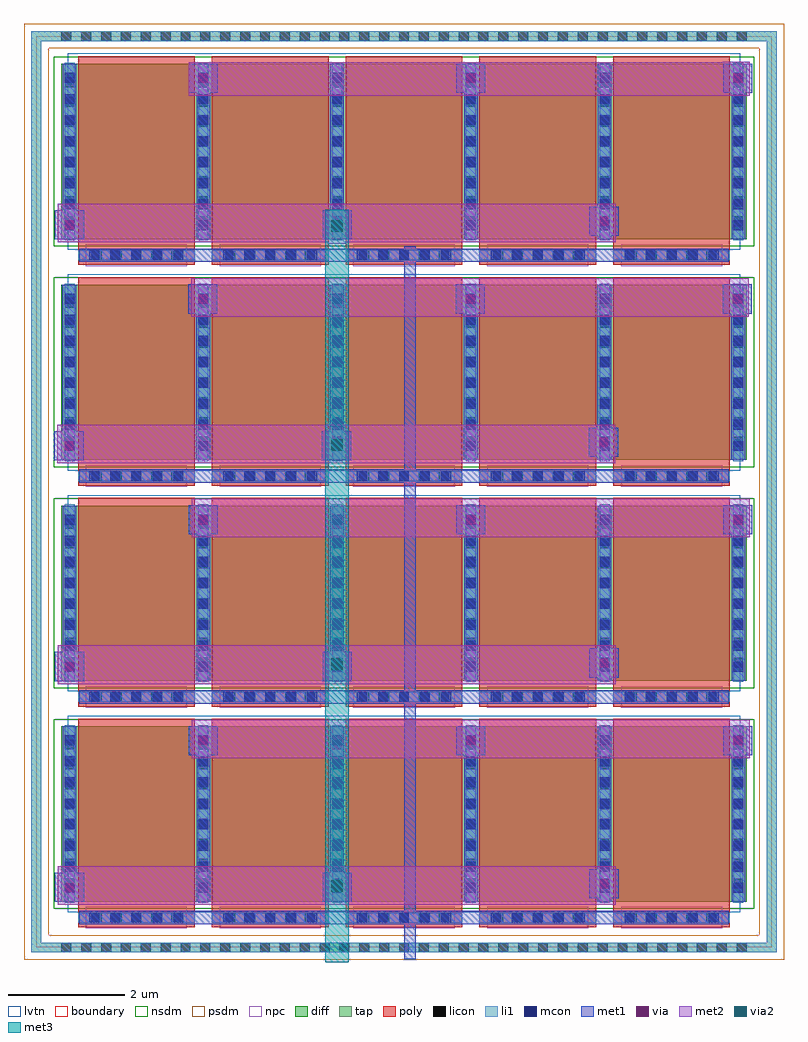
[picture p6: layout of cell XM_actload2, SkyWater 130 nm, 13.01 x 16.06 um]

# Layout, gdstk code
import gdstk
lib = gdstk.Library(unit=1e-6, precision=1e-09)
def R(c, l, rs):  # rectangles x0, y0, x1, y1
    for r in rs: c.add(gdstk.rectangle(r[:2], r[2:], *l))
def A(c, l, x, y, w, h, nx, ny, dx, dy):  # array of equal rectangles
    R(c, l, [(x+i*dx, y+j*dy, x+i*dx+w, y+j*dy+h) for i in range(nx) for j in range(ny)])
diff = (65, 20)
tap = (65, 44)
poly = (66, 20)
licon = (66, 44)
li1 = (67, 20)
mcon = (67, 44)
met1 = (68, 20)
via = (68, 44)
met2 = (69, 20)
via2 = (69, 44)
met3 = (70, 20)
nsdm = (93, 44)
psdm = (94, 20)
npc = (95, 20)
lvtn = (125, 44)
boundary = (235, 4)

sky130_fd_pr__nfet_01v8_ = lib.new_cell('sky130_fd_pr__nfet_01v8_lvt_USQY94')
A(sky130_fd_pr__nfet_01v8_, diff, -5.87, -7.015, 11.74, 3, 1, 4, 0, 3.78)
R(sky130_fd_pr__nfet_01v8_, tap, [(-6.38,-7.885,6.38,-7.715), (-6.38,-7.715,-6.21,7.715), (6.21,-7.715,6.38,7.715), (-6.38,7.715,6.38,7.885)])
A(sky130_fd_pr__nfet_01v8_, poly, -5.58, -7.455, 2, 3.57, 5, 4, 2.29, 3.78)
A(sky130_fd_pr__nfet_01v8_, licon, -5.865, -7.885, 0.17, 0.17, 35, 2, 0.34, 15.6)
A(sky130_fd_pr__nfet_01v8_, licon, -5.345, -7.375, 0.17, 0.17, 5, 4, 0.34, 3.78)
A(sky130_fd_pr__nfet_01v8_, licon, -3.055, -7.375, 0.17, 0.17, 5, 4, 0.34, 3.78)
A(sky130_fd_pr__nfet_01v8_, licon, -0.765, -7.375, 0.17, 0.17, 5, 4, 0.34, 3.78)
A(sky130_fd_pr__nfet_01v8_, licon, 1.525, -7.375, 0.17, 0.17, 5, 4, 0.34, 3.78)
A(sky130_fd_pr__nfet_01v8_, licon, 3.815, -7.375, 0.17, 0.17, 5, 4, 0.34, 3.78)
A(sky130_fd_pr__nfet_01v8_, licon, -5.81, -6.79, 0.17, 0.17, 6, 8, 2.29, 0.34)
A(sky130_fd_pr__nfet_01v8_, licon, -5.81, -3.01, 0.17, 0.17, 6, 8, 2.29, 0.34)
A(sky130_fd_pr__nfet_01v8_, licon, -5.81, 0.77, 0.17, 0.17, 6, 8, 2.29, 0.34)
A(sky130_fd_pr__nfet_01v8_, licon, -5.81, 4.55, 0.17, 0.17, 6, 8, 2.29, 0.34)
A(sky130_fd_pr__nfet_01v8_, li1, -5.58, -7.375, 2, 0.17, 5, 4, 2.29, 3.78)
A(sky130_fd_pr__nfet_01v8_, li1, -5.81, -7.035, 0.17, 3.04, 6, 4, 2.29, 3.78)
R(sky130_fd_pr__nfet_01v8_, li1, [(-6.38,-7.885,6.38,-7.715), (-6.38,-7.715,-6.21,7.715), (6.21,-7.715,6.38,7.715), (-6.38,7.715,6.38,7.885)])
A(sky130_fd_pr__nfet_01v8_, mcon, -5.385, -7.375, 0.17, 0.17, 5, 4, 0.36, 3.78)
A(sky130_fd_pr__nfet_01v8_, mcon, -3.095, -7.375, 0.17, 0.17, 5, 4, 0.36, 3.78)
A(sky130_fd_pr__nfet_01v8_, mcon, -0.805, -7.375, 0.17, 0.17, 5, 4, 0.36, 3.78)
A(sky130_fd_pr__nfet_01v8_, mcon, 1.485, -7.375, 0.17, 0.17, 5, 4, 0.36, 3.78)
A(sky130_fd_pr__nfet_01v8_, mcon, 3.775, -7.375, 0.17, 0.17, 5, 4, 0.36, 3.78)
A(sky130_fd_pr__nfet_01v8_, mcon, -5.81, -6.86, 0.17, 0.17, 6, 8, 2.29, 0.36)
A(sky130_fd_pr__nfet_01v8_, mcon, -5.81, -3.08, 0.17, 0.17, 6, 8, 2.29, 0.36)
A(sky130_fd_pr__nfet_01v8_, mcon, -5.81, 0.7, 0.17, 0.17, 6, 8, 2.29, 0.36)
A(sky130_fd_pr__nfet_01v8_, mcon, -5.81, 4.48, 0.17, 0.17, 6, 8, 2.29, 0.36)
A(sky130_fd_pr__nfet_01v8_, met1, -5.56, -7.405, 1.96, 0.23, 5, 4, 2.29, 3.78)
A(sky130_fd_pr__nfet_01v8_, met1, -5.84, -7.015, 0.23, 3, 6, 4, 2.29, 3.78)
A(sky130_fd_pr__nfet_01v8_, nsdm, -5.995, -7.14, 11.99, 3.25, 1, 4, 0, 3.78)
R(sky130_fd_pr__nfet_01v8_, psdm, [(-6.505,-8.01,6.505,-7.59), (-6.505,-7.59,-6.085,7.59), (6.085,-7.59,6.505,7.59), (-6.505,7.59,6.505,8.01)])
A(sky130_fd_pr__nfet_01v8_, npc, -5.445, -7.475, 1.73, 0.37, 5, 4, 2.29, 3.78)
A(sky130_fd_pr__nfet_01v8_, lvtn, -5.76, -7.195, 11.52, 3.36, 1, 4, 0, 3.78)
R(sky130_fd_pr__nfet_01v8_, boundary, [(-6.295,-7.8,6.295,7.8)])

xm_actload2 = lib.new_cell('XM_actload2')
A(xm_actload2, met1, 2.635, 0.395, 0.45, 0.23, 4, 4, 2.29, 3.78)
A(xm_actload2, met1, 2.745, 0.785, 0.23, 0.06, 3, 2, 4.58, 3.78)
A(xm_actload2, met1, 0.455, 3.725, 0.23, 0.06, 3, 2, 4.58, 3.78)
A(xm_actload2, met1, 2.735, 8.345, 0.23, 0.06, 3, 1, 4.58, 0)
A(xm_actload2, met1, 0.445, 11.285, 0.23, 0.06, 3, 1, 4.58, 0)
R(xm_actload2, met1, [(6.3,-0.2,6.5,12), (0.32,0.78,0.82,1.28), (4.9,0.78,5.4,1.28), (9.615,0.785,9.845,0.84), (9.47,0.84,9.97,1.34), (2.745,0.845,2.775,3.29), (2.945,0.845,2.975,3.29), (7.325,0.845,7.355,3.29), (7.525,0.845,7.555,3.29), (11.905,0.845,11.935,3.24), (12.105,0.845,12.135,3.24), (0.455,1.28,0.485,3.725), (0.655,1.28,0.685,3.725), (5.035,1.28,5.065,3.725), (5.235,1.28,5.265,3.725), (9.605,1.34,9.645,1.39), (9.805,1.34,9.845,1.39), (9.615,1.39,9.645,3.725), (9.815,1.39,9.845,3.725), (11.895,3.24,11.935,3.29), (12.095,3.24,12.135,3.29), (2.61,3.29,3.11,3.79), (7.19,3.29,7.69,3.79), (11.76,3.29,12.26,3.79), (0.32,4.56,0.82,5.06), (4.9,4.56,5.4,5.06), (9.615,4.565,9.845,4.62), (9.47,4.62,9.97,5.12), (2.745,4.625,2.775,7.07), (2.945,4.625,2.975,7.07), (7.325,4.625,7.355,7.07), (7.525,4.625,7.555,7.07), (11.905,4.625,11.935,7.02), (12.105,4.625,12.135,7.02), (0.455,5.06,0.485,7.505), (0.655,5.06,0.685,7.505), (5.035,5.06,5.065,7.505), (5.235,5.06,5.265,7.505), (9.605,5.12,9.645,5.17), (9.805,5.12,9.845,5.17), (9.615,5.17,9.645,7.505), (9.815,5.17,9.845,7.505), (11.895,7.02,11.935,7.07), (12.095,7.02,12.135,7.07), (2.61,7.07,3.11,7.57), (7.19,7.07,7.69,7.57), (11.76,7.07,12.26,7.57), (0.31,8.34,0.81,8.84), (4.89,8.34,5.39,8.84), (9.605,8.345,9.835,8.4), (9.46,8.4,9.96,8.9), (2.735,8.405,2.765,10.85), (2.935,8.405,2.965,10.85), (7.315,8.405,7.345,10.85), (7.515,8.405,7.545,10.85), (11.895,8.405,11.925,10.8), (12.095,8.405,12.125,10.8), (0.445,8.84,0.475,11.285), (0.645,8.84,0.675,11.285), (5.025,8.84,5.055,11.285), (5.225,8.84,5.255,11.285), (9.595,8.9,9.635,8.95), (9.795,8.9,9.835,8.95), (9.605,8.95,9.635,11.285), (9.805,8.95,9.835,11.285), (11.885,10.8,11.925,10.85), (12.085,10.8,12.125,10.85), (2.6,10.85,3.1,11.35), (7.18,10.85,7.68,11.35), (11.75,10.85,12.25,11.35), (0.32,12.12,0.82,12.62), (4.9,12.12,5.4,12.62), (9.47,12.18,9.97,12.68), (5.035,12.62,5.065,12.67), (5.235,12.62,5.265,12.67), (9.605,12.68,9.635,12.73), (9.805,12.68,9.835,12.73), (7.325,14.58,7.355,14.63), (7.525,14.58,7.555,14.63), (11.895,14.58,11.925,14.63), (12.095,14.58,12.125,14.63), (2.61,14.63,3.11,15.13), (7.19,14.63,7.69,15.13), (11.76,14.63,12.26,15.13)])
R(xm_actload2, via, [(0.495,0.955,0.645,1.105), (5.075,0.955,5.225,1.105), (9.645,1.015,9.795,1.165), (2.785,3.465,2.935,3.615), (7.365,3.465,7.515,3.615), (11.935,3.465,12.085,3.615), (0.495,4.735,0.645,4.885), (5.075,4.735,5.225,4.885), (9.645,4.795,9.795,4.945), (2.785,7.245,2.935,7.395), (7.365,7.245,7.515,7.395), (11.935,7.245,12.085,7.395), (0.485,8.515,0.635,8.665), (5.065,8.515,5.215,8.665), (9.635,8.575,9.785,8.725), (2.775,11.025,2.925,11.175), (7.355,11.025,7.505,11.175), (11.925,11.025,12.075,11.175), (0.495,12.295,0.645,12.445), (5.075,12.295,5.225,12.445), (9.645,12.355,9.795,12.505), (2.785,14.805,2.935,14.955), (7.365,14.805,7.515,14.955), (11.935,14.805,12.085,14.955)])
R(xm_actload2, met2, [(0.37,0.73,9.92,1.39), (2.66,3.24,12.21,3.9), (0.37,4.51,9.92,5.17), (2.66,7.02,12.21,7.68), (0.36,8.29,9.91,8.95), (2.65,10.8,12.2,11.46), (5,12.05,5.3,12.07), (0.37,12.07,9.92,12.73), (2.61,14.58,12.21,15.15), (11.76,15.15,12.21,15.16)])
A(xm_actload2, via2, 5.05, 4.75, 0.2, 0.2, 1, 3, 0, 3.75)
R(xm_actload2, via2, [(5.05,0.95,5.25,1.15)])
R(xm_actload2, met3, [(4.95,-0.25,5.35,12.625)])
xm_actload2.add(gdstk.Reference(sky130_fd_pr__nfet_01v8_, (6.295,7.8)))

lib.write_gds('XM_actload2.gds')
